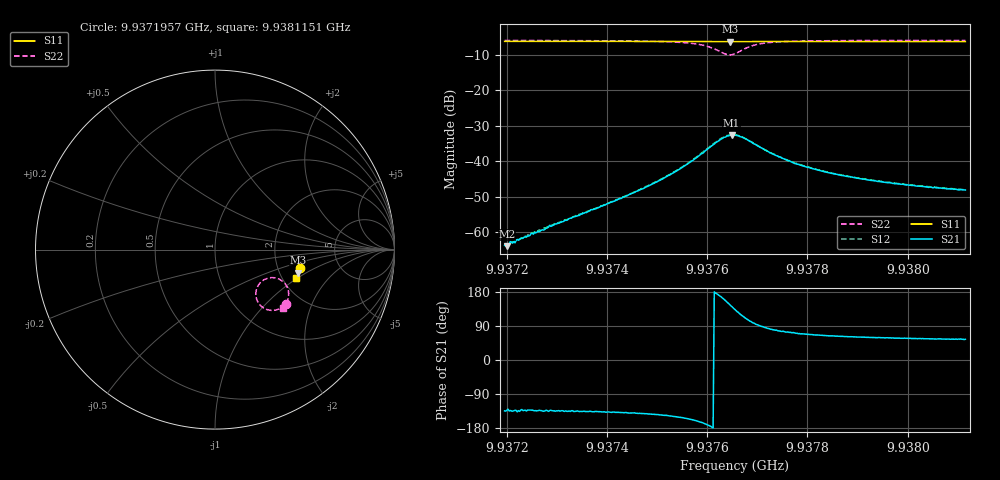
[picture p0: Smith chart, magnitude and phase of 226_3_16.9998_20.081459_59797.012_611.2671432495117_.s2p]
#  HZ  S  RI  R  50.00
! Rohde & Schwarz Vector Network Analyzer
! Rohde-Schwarz,ZNB20-2Port,1311601062101988,3.16
! Created: UTC 3/20/2024, 11:02:11 PM
! freq[Hz]  re:S11  im:S11  re:S21  im:S21  re:S12  im:S12  re:S22  im:S22
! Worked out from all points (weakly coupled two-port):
!   401 points, 9.9371957 GHz to 9.9381151 GHz, reference 50 ohm
!   highest |S21| = -32.63 dB at 9.9376485 GHz (marker M1); lowest = -63.8 dB at 9.9372003 GHz (marker M2)
!   lowest |S11| = -6.4 dB at 9.9376462 GHz (marker M3), VSWR 2.84, Z = 126 - j42 ohm
!   |S11| at or under -10 dB: nowhere
!   |S22| runs from -10.1 to -6.1 dB; largest |S21 - S12| = 0.001
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9.93719569e9  0.4735 -0.0999  -0.000466 -0.000476  -0.000453 -0.000485  0.3949 -0.3034
9.93720029e9  0.4734 -0.1  -0.000435 -0.000472  -0.000446 -0.000488  0.3945 -0.304
9.93724626e9  0.4727 -0.1034  -0.000614 -0.000671  -0.000656 -0.000699  0.3908 -0.3075
9.9373497e9  0.4704 -0.1103  -0.0013 -0.00126  -0.00131 -0.00129  0.38 -0.3169
9.93743704e9  0.4684 -0.1161  -0.00244 -0.00215  -0.00251 -0.00211  0.3658 -0.3263
9.9375037e9  0.467 -0.1209  -0.00434 -0.0031  -0.00445 -0.00307  0.3464 -0.3346
9.93754968e9  0.4656 -0.124  -0.00719 -0.00382  -0.00742 -0.00376  0.32 -0.3389
9.93759565e9  0.4639 -0.127  -0.0137 -0.0028  -0.014 -0.0026  0.268 -0.3236
9.93761174e9  0.4632 -0.1278  -0.0171 -0.000108  -0.0175 7.85e-05  0.2435 -0.2992
9.93762783e9  0.4622 -0.1283  -0.0199 0.00468  -0.0203 0.00547  0.2274 -0.2541
9.93764622e9  0.4617 -0.1285  -0.0189 0.0134  -0.0188 0.0143  0.2492 -0.1881
9.93764852e9  0.4619 -0.1284  -0.0183 0.0145  -0.0181 0.0152  0.2557 -0.1811
9.93765541e9  0.4619 -0.1286  -0.0159 0.017  -0.0155 0.0176  0.2788 -0.1652
9.9376669e9  0.4621 -0.129  -0.011 0.0192  -0.0103 0.0198  0.3204 -0.156
9.9376807e9  0.4624 -0.1297  -0.00566 0.0191  -0.00503 0.0194  0.3614 -0.1666
9.93770828e9  0.4626 -0.1318  0.000406 0.0154  0.000737 0.0154  0.4005 -0.206
9.93774506e9  0.4622 -0.1347  0.00268 0.0112  0.00284 0.0111  0.4105 -0.2446
9.93777264e9  0.4617 -0.1366  0.00288 0.00902  0.00323 0.00913  0.4096 -0.2624
9.93780942e9  0.4608 -0.1394  0.00311 0.0073  0.00325 0.0073  0.4056 -0.278
9.93786918e9  0.4593 -0.1434  0.00292 0.0056  0.00306 0.00561  0.3991 -0.2941
9.93796342e9  0.457 -0.1496  0.00263 0.00427  0.00277 0.00427  0.3903 -0.3085
9.93811513e9  0.453 -0.1594  0.00228 0.00322  0.00237 0.00321  0.3786 -0.3235
